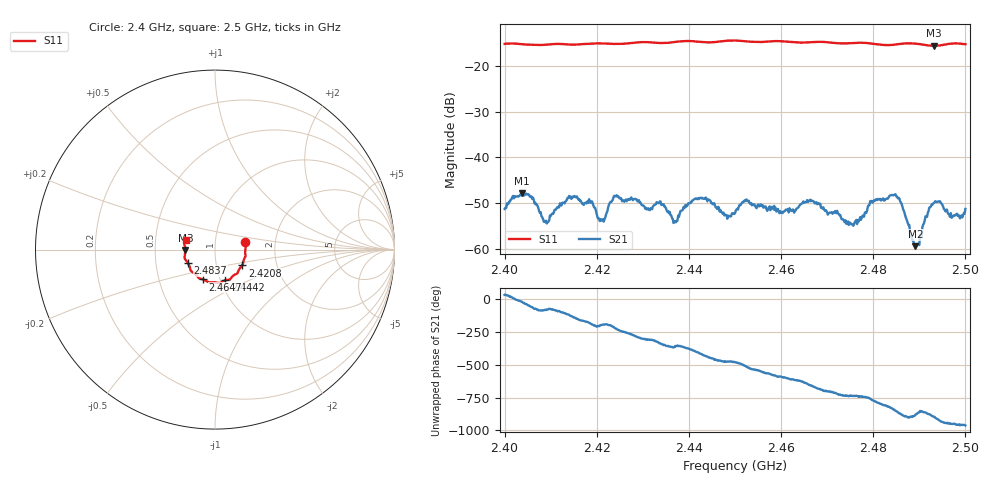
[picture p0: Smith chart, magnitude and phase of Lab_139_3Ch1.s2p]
# Hz S RI R 50
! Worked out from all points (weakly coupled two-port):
!   601 points, 2.4 GHz to 2.5 GHz, reference 50 ohm
!   highest |S21| = -47.79 dB at 2.4038 GHz (marker M1); lowest = -59.4 dB at 2.4892 GHz (marker M2)
!   lowest |S11| = -15.6 dB at 2.4932 GHz (marker M3), VSWR 1.40, Z = 35.8 - j0.118 ohm
!   |S11| at or under -10 dB: start of sweep to end of sweep
!   S12 and S22 are empty: the file has one direction only
!   S11 on the Smith chart (normalised r, x): 2.4 GHz: 1.40, +0.12; 2.4208 GHz: 1.33, -0.24; 2.4442 GHz: 1.05, -0.37; 2.4647 GHz: 0.83, -0.29; 2.4837 GHz: 0.73, -0.11; 2.5 GHz: 0.71, +0.08
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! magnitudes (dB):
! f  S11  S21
! 2.4 GHz  -15.2  -51.3
! 2.4038 GHz  -15.3  -47.8
! 2.409 GHz  -15.4  -53.8
! 2.4138 GHz  -15.3  -48.9
! 2.4167 GHz  -15.3  -49.8
! 2.4208 GHz  -15.1  -53.5
! 2.4242 GHz  -15.2  -48.5
! 2.4333 GHz  -15.0  -50.0
! 2.437 GHz  -14.8  -53.9
! 2.4442 GHz  -14.9  -49.2
! 2.45 GHz  -14.5  -52.2
! 2.4525 GHz  -14.7  -49.2
! 2.46 GHz  -14.6  -52.1
! 2.4647 GHz  -14.9  -49.9
! 2.4667 GHz  -14.8  -49.5
! 2.4752 GHz  -15.0  -54.6
! 2.4833 GHz  -15.5  -48.8
! 2.4837 GHz  -15.5  -48.3
! 2.4858 GHz  -15.2  -49.6
! 2.4892 GHz  -15.2  -59.4
! 2.4932 GHz  -15.6  -50.0
! 2.5 GHz  -15.3  -51.3
